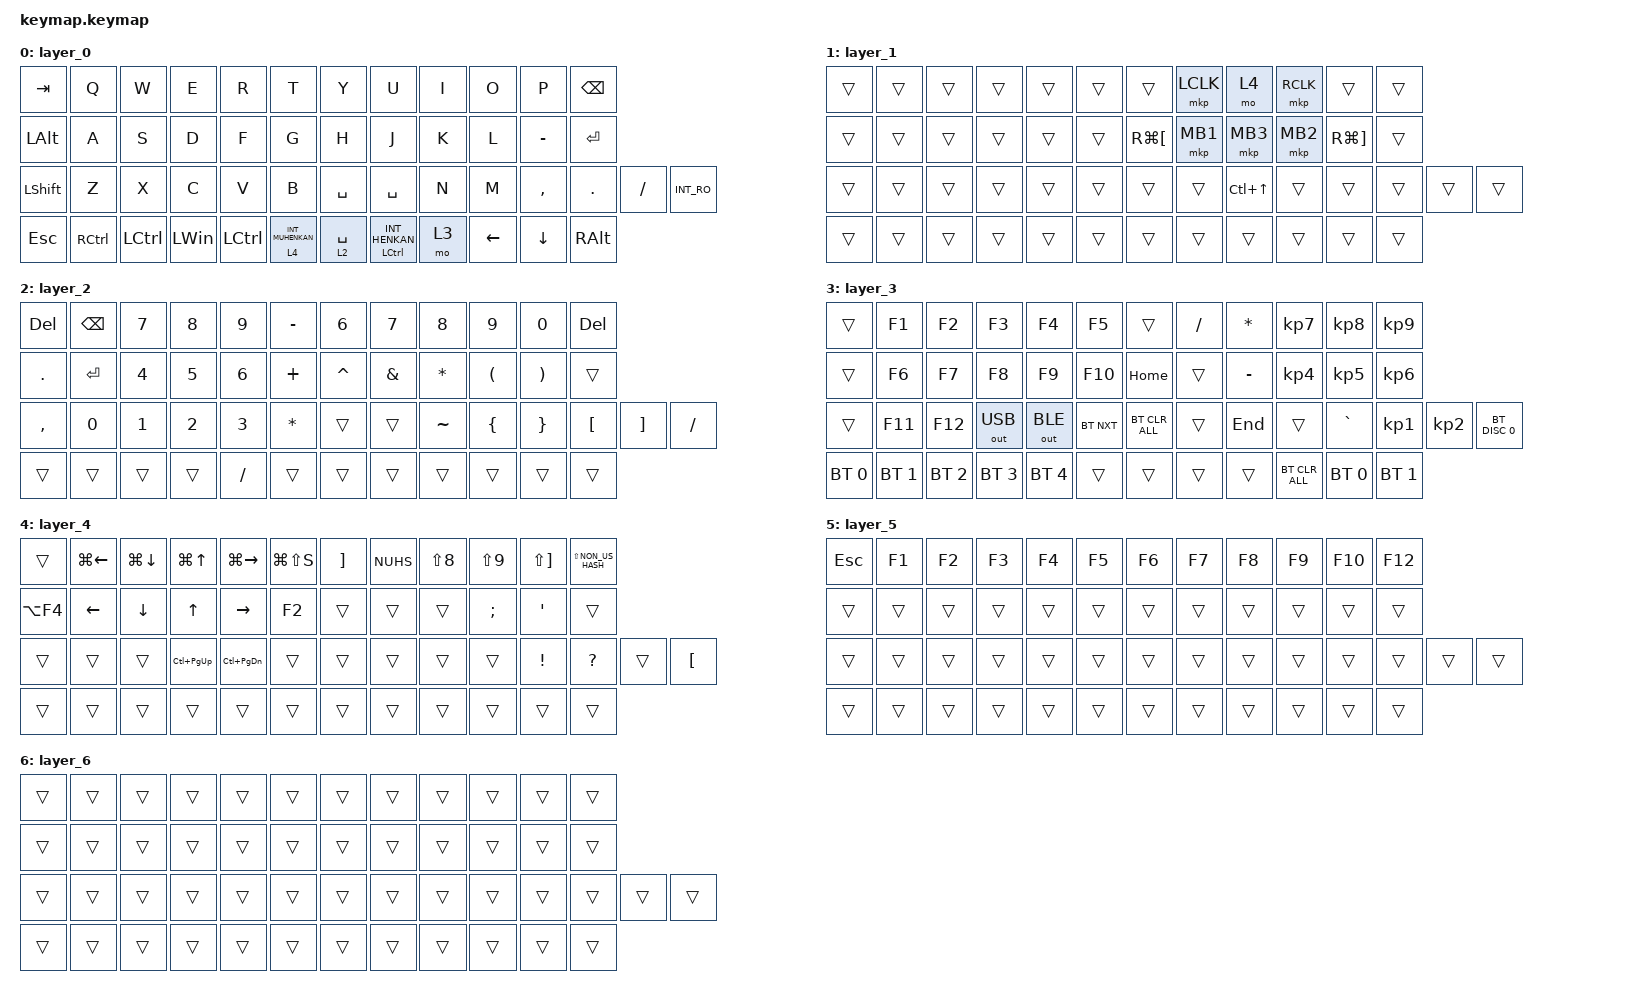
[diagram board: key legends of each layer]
#include <behaviors.dtsi>
#include <dt-bindings/zmk/bt.h>
#include <dt-bindings/zmk/keys.h>
#include <dt-bindings/zmk/outputs.h>
#include <dt-bindings/zmk/pointing.h>

/ {
    combos {
        compatible = "zmk,combos";

        bt_clear {
            bindings = <&bt BT_CLR>;
            key-positions = <28 29>;
            layers = <2>;
        };
    };

    keymap {
        compatible = "zmk,keymap";

        layer_0 {
            bindings = <
&kp TAB       &kp Q      &kp W             &kp E         &kp R      &kp T               &kp Y        &kp U                 &kp I  &kp O           &kp P           &kp BSPC
&kp LEFT_ALT  &kp A      &kp S             &kp D         &kp F      &kp G               &kp H        &kp J                 &kp K  &kp L           &kp MINUS       &kp ENTER
&kp LSHFT     &kp Z      &kp X             &kp C         &kp V      &kp B               &kp SPACE    &kp SPACE             &kp N  &kp M           &kp COMMA       &kp DOT        &kp SLASH  &kp INT_RO
&kp ESCAPE    &kp RCTRL  &kp LEFT_CONTROL  &kp LEFT_WIN  &kp LCTRL  &lt 4 INT_MUHENKAN  &lt 2 SPACE  &mt LCTRL INT_HENKAN  &mo 3  &kp LEFT_ARROW  &kp DOWN_ARROW  &kp RIGHT_ALT
            >;
        };

        layer_1 {
            bindings = <
&trans  &trans  &trans  &trans  &trans  &trans  &trans                &mkp LCLK  &mo 4             &mkp RCLK  &trans                 &trans
&trans  &trans  &trans  &trans  &trans  &trans  &kp RG(LEFT_BRACKET)  &mkp MB1   &mkp MB3          &mkp MB2   &kp RG(RIGHT_BRACKET)  &trans
&trans  &trans  &trans  &trans  &trans  &trans  &trans                &trans     &kp LC(UP_ARROW)  &trans     &trans                 &trans  &trans  &trans
&trans  &trans  &trans  &trans  &trans  &trans  &trans                &trans     &trans            &trans     &trans                 &trans
            >;
        };

        layer_2 {
            bindings = <
&kp DELETE  &kp BACKSPACE  &kp NUMBER_7  &kp NUMBER_8  &kp NUMBER_9  &kp MINUS     &kp N6     &kp N7         &kp N8     &kp N9                &kp N0                 &kp DELETE
&kp PERIOD  &kp ENTER      &kp NUMBER_4  &kp N5        &kp NUMBER_6  &kp PLUS      &kp CARET  &kp AMPERSAND  &kp ASTRK  &kp LEFT_PARENTHESIS  &kp RIGHT_PARENTHESIS  &trans
&kp COMMA   &kp NUMBER_0   &kp NUMBER_1  &kp NUMBER_2  &kp NUMBER_3  &kp ASTERISK  &trans     &trans         &kp TILDE  &kp LEFT_BRACE        &kp RIGHT_BRACE        &kp LEFT_BRACKET  &kp RIGHT_BRACKET  &kp SLASH
&trans      &trans         &trans        &trans        &kp SLASH     &trans        &trans     &trans         &trans     &trans                &trans                 &trans
            >;
        };

        layer_3 {
            bindings = <
&trans        &kp F1        &kp F2        &kp F3        &kp F4        &kp F5      &trans          &kp FSLH  &kp ASTRK  &kp KP_NUMBER_7  &kp KP_NUMBER_8  &kp KP_NUMBER_9
&trans        &kp F6        &kp F7        &kp F8        &kp F9        &kp F10     &kp HOME        &trans    &kp MINUS  &kp KP_NUMBER_4  &kp KP_NUMBER_5  &kp KP_NUMBER_6
&trans        &kp F11       &kp F12       &out OUT_USB  &out OUT_BLE  &bt BT_NXT  &bt BT_CLR_ALL  &trans    &kp END    &trans           &kp GRAVE        &kp KP_NUMBER_1  &kp KP_NUMBER_2  &bt BT_DISC 0
&bt BT_SEL 0  &bt BT_SEL 1  &bt BT_SEL 2  &bt BT_SEL 3  &bt BT_SEL 4  &trans      &trans          &trans    &trans     &bt BT_CLR_ALL   &bt BT_SEL 0     &bt BT_SEL 1
            >;
        };

        layer_4 {
            bindings = <
&trans      &kp LG(LEFT)  &kp LG(DOWN)  &kp LG(UP_ARROW)  &kp LG(RIGHT)  &kp LG(LS(S))  &kp RBKT  &kp NUHS  &kp LS(NUMBER_8)  &kp LS(NUMBER_9)  &kp LS(RIGHT_BRACKET)  &kp LS(NON_US_HASH)
&kp LA(F4)  &kp LEFT      &kp DOWN      &kp UP_ARROW      &kp RIGHT      &kp F2         &trans    &trans    &trans            &kp SEMICOLON     &kp APOSTROPHE         &trans
&trans      &trans        &trans        &kp LC(PG_UP)     &kp LC(PG_DN)  &trans         &trans    &trans    &trans            &trans            &kp EXCLAMATION        &kp QUESTION         &trans  &kp LEFT_BRACKET
&trans      &trans        &trans        &trans            &trans         &trans         &trans    &trans    &trans            &trans            &trans                 &trans
            >;
        };

        layer_5 {
            bindings = <
&kp ESC  &kp F1  &kp F2  &kp F3  &kp F4  &kp F5  &kp F6  &kp F7  &kp F8  &kp F9  &kp F10  &kp F12
&trans   &trans  &trans  &trans  &trans  &trans  &trans  &trans  &trans  &trans  &trans   &trans
&trans   &trans  &trans  &trans  &trans  &trans  &trans  &trans  &trans  &trans  &trans   &trans   &trans  &trans
&trans   &trans  &trans  &trans  &trans  &trans  &trans  &trans  &trans  &trans  &trans   &trans
            >;
        };

        layer_6 {
            bindings = <
&trans  &trans  &trans  &trans  &trans  &trans  &trans  &trans  &trans  &trans  &trans  &trans
&trans  &trans  &trans  &trans  &trans  &trans  &trans  &trans  &trans  &trans  &trans  &trans
&trans  &trans  &trans  &trans  &trans  &trans  &trans  &trans  &trans  &trans  &trans  &trans  &trans  &trans
&trans  &trans  &trans  &trans  &trans  &trans  &trans  &trans  &trans  &trans  &trans  &trans
            >;
        };
    };
};
